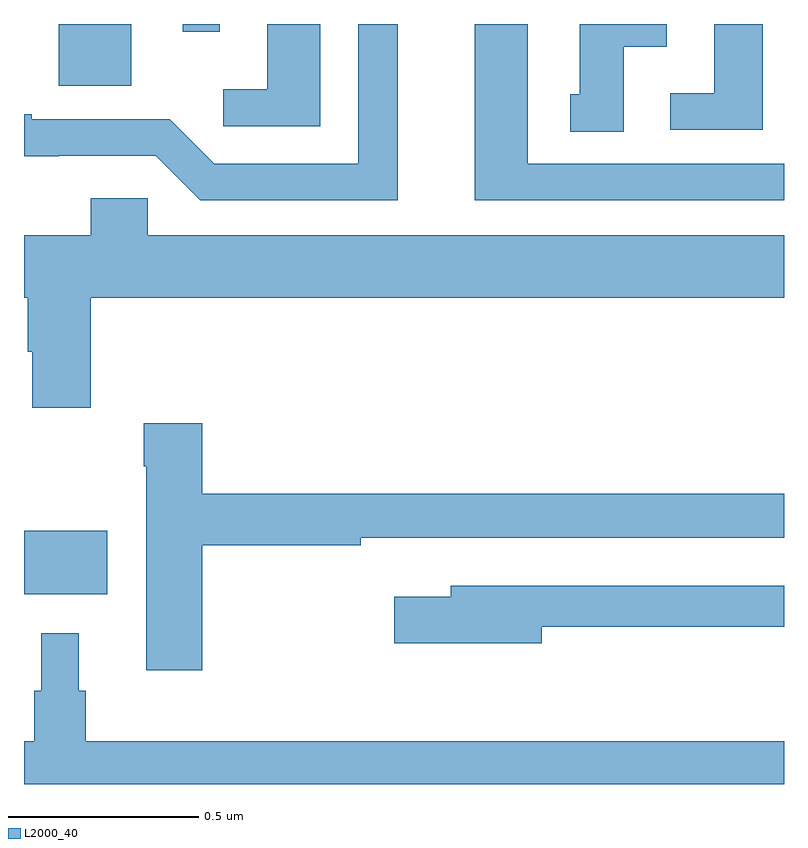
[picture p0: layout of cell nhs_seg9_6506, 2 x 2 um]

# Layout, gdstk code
import gdstk
lib = gdstk.Library(unit=1e-6, precision=1e-09)
def R(c, l, rs):  # rectangles x0, y0, x1, y1
    for r in rs: c.add(gdstk.rectangle(r[:2], r[2:], *l))
def P(c, l, *ps):  # polygons
    for p in ps: c.add(gdstk.Polygon(p, *l))
L2000_40 = (2000, 40)

nhs_seg9_6506 = lib.new_cell('nhs_seg9_6506')
R(nhs_seg9_6506, L2000_40, [(193,1169,193.219,1169.166), (193.091,1170.338,193.282,1170.5), (193.418,1170.48,193.515,1170.5)])
P(nhs_seg9_6506, L2000_40, [(194.944,1170.5),(194.816,1170.5),(194.816,1170.318),(194.7,1170.318),(194.7,1170.222),(194.944,1170.222)],
  [(193.78,1170.5),(193.64,1170.5),(193.64,1170.328),(193.524,1170.328),(193.524,1170.231),(193.78,1170.231)],
  [(195,1170.132),(194.326,1170.132),(194.326,1170.5),(194.186,1170.5),(194.186,1170.036),(195,1170.036)],
  [(194.578,1170.44),(194.692,1170.44),(194.692,1170.5),(194.462,1170.5),(194.462,1170.315),(194.438,1170.315),(194.438,1170.217),(194.578,1170.217)],
  [(193.984,1170.5),(193.88,1170.5),(193.88,1170.132),(193.5,1170.132),(193.383,1170.249),(193.021,1170.249),(193.021,1170.262),(193,1170.262),(193,1170.152),(193.091,1170.152),(193.091,1170.153),(193.347,1170.153),(193.464,1170.036),(193.984,1170.036)],
  [(193.175,1169.78),(195,1169.78),(195,1169.944),(193.326,1169.944),(193.326,1170.042),(193.175,1170.042),(193.175,1169.944),(193,1169.944),(193,1169.78),(193.01,1169.78),(193.01,1169.638),(193.022,1169.638),(193.022,1169.49),(193.175,1169.49)],
  [(193.469,1169.128),(193.886,1169.128),(193.886,1169.148),(195,1169.148),(195,1169.264),(193.469,1169.264),(193.469,1169.449),(193.315,1169.449),(193.315,1169.336),(193.322,1169.336),(193.322,1168.8),(193.469,1168.8)],
  [(194.362,1168.914),(195,1168.914),(195,1169.022),(194.123,1169.022),(194.123,1168.993),(193.974,1168.993),(193.974,1168.871),(194.362,1168.871)],
  [(195,1168.612),(193.163,1168.612),(193.163,1168.746),(193.144,1168.746),(193.144,1168.897),(193.046,1168.897),(193.046,1168.746),(193.027,1168.746),(193.027,1168.612),(193,1168.612),(193,1168.5),(195,1168.5)])

lib.write_gds('nhs_seg9_6506.gds')
